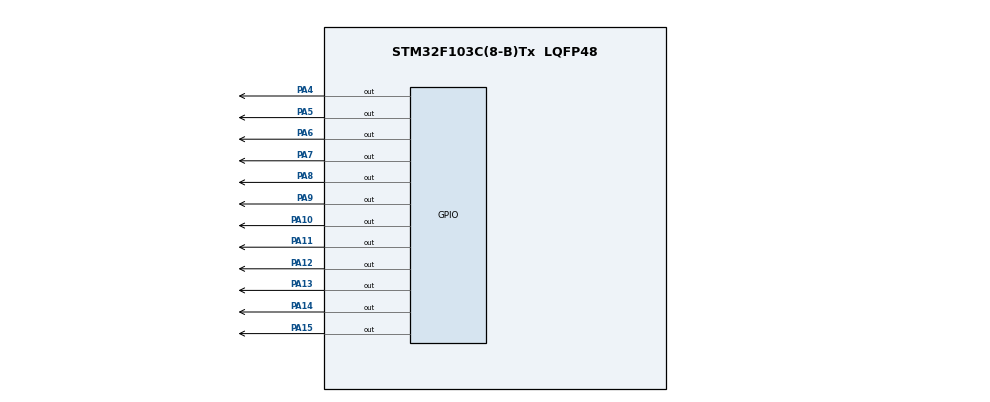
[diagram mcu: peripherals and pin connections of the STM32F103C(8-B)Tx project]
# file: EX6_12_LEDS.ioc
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Mcu.Family=STM32F1
Mcu.Name=STM32F103C(8-B)Tx
Mcu.Package=LQFP48
NVIC.PriorityGroup=NVIC_PRIORITYGROUP_4
PA10.Signal=GPIO_Output
PA11.Signal=GPIO_Output
PA12.Signal=GPIO_Output
PA13.Signal=GPIO_Output
PA14.Signal=GPIO_Output
PA15.Signal=GPIO_Output
PA4.Signal=GPIO_Output
PA5.Signal=GPIO_Output
PA6.Signal=GPIO_Output
PA7.Signal=GPIO_Output
PA8.Signal=GPIO_Output
PA9.Signal=GPIO_Output
ProjectManager.HeapSize=0x200
ProjectManager.StackSize=0x400
ProjectManager.TargetToolchain=MDK-ARM V5.32
RCC.APB1Freq_Value=8000000
RCC.APB2Freq_Value=8000000
VP_SYS_VS_ND.Mode=No_Debug
board=custom

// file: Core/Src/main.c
/* USER CODE BEGIN Header */
/**
  ******************************************************************************
  * @file           : main.c
  * @brief          : Main program body
  ******************************************************************************
  * @attention
  *
  * Copyright (c) 2026 STMicroelectronics.
  * All rights reserved.
  *
  * This software is licensed under terms that can be found in the LICENSE file
  * in the root directory of this software component.
  * If no LICENSE file comes with this software, it is provided AS-IS.
  *
  ******************************************************************************
  */
/* USER CODE END Header */
#include "main.h"

/* USER CODE BEGIN PD */
#define ALL_LED (GPIO_PIN_4 | GPIO_PIN_5 | GPIO_PIN_6 | GPIO_PIN_7 | \
								 GPIO_PIN_8 | GPIO_PIN_9 | GPIO_PIN_10 | GPIO_PIN_11 | \
								 GPIO_PIN_12 | GPIO_PIN_13 | GPIO_PIN_14 | GPIO_PIN_15)
/* USER CODE END PD */

void SystemClock_Config(void);
static void MX_GPIO_Init(void);

/* USER CODE BEGIN 0 */
static const uint16_t clock_led[12] = {
	GPIO_PIN_4,
	GPIO_PIN_5,
	GPIO_PIN_6,
	GPIO_PIN_7,
	GPIO_PIN_8,
	GPIO_PIN_9,
	GPIO_PIN_10,
	GPIO_PIN_11,
	GPIO_PIN_12,
	GPIO_PIN_13,
	GPIO_PIN_14,
	GPIO_PIN_15
};
/* USER CODE END 0 */

int main(void)
{

  /* MCU Configuration--------------------------------------------------------*/

  /* Reset of all peripherals, Initializes the Flash interface and the Systick. */
  HAL_Init();

  /* Configure the system clock */
  SystemClock_Config();

  /* Initialize all configured peripherals */
  MX_GPIO_Init();

  /* Infinite loop */
  while (1)
  {

    /* USER CODE BEGIN 3 */
		for(int i = 0; i < 12; i++){
			HAL_GPIO_WritePin(GPIOA, ALL_LED, 0);
			HAL_GPIO_WritePin(GPIOA, clock_led[i], 1);
			HAL_Delay(1000);
		}
  }
  /* USER CODE END 3 */
}

void SystemClock_Config(void)
{
  RCC_OscInitTypeDef RCC_OscInitStruct = {0};
  RCC_ClkInitTypeDef RCC_ClkInitStruct = {0};

  /** Initializes the RCC Oscillators according to the specified parameters
  * in the RCC_OscInitTypeDef structure.
  */
  RCC_OscInitStruct.OscillatorType = RCC_OSCILLATORTYPE_HSI;
  RCC_OscInitStruct.HSIState = RCC_HSI_ON;
  RCC_OscInitStruct.HSICalibrationValue = RCC_HSICALIBRATION_DEFAULT;
  RCC_OscInitStruct.PLL.PLLState = RCC_PLL_NONE;
  if (HAL_RCC_OscConfig(&RCC_OscInitStruct) != HAL_OK)
  {
    Error_Handler();
  }

  /** Initializes the CPU, AHB and APB buses clocks
  */
  RCC_ClkInitStruct.ClockType = RCC_CLOCKTYPE_HCLK|RCC_CLOCKTYPE_SYSCLK
                              |RCC_CLOCKTYPE_PCLK1|RCC_CLOCKTYPE_PCLK2;
  RCC_ClkInitStruct.SYSCLKSource = RCC_SYSCLKSOURCE_HSI;
  RCC_ClkInitStruct.AHBCLKDivider = RCC_SYSCLK_DIV1;
  RCC_ClkInitStruct.APB1CLKDivider = RCC_HCLK_DIV1;
  RCC_ClkInitStruct.APB2CLKDivider = RCC_HCLK_DIV1;

  if (HAL_RCC_ClockConfig(&RCC_ClkInitStruct, FLASH_LATENCY_0) != HAL_OK)
  {
    Error_Handler();
  }
}

static void MX_GPIO_Init(void)
{
  GPIO_InitTypeDef GPIO_InitStruct = {0};

  /* GPIO Ports Clock Enable */
  __HAL_RCC_GPIOA_CLK_ENABLE();

  /*Configure GPIO pin Output Level */
  HAL_GPIO_WritePin(GPIOA, GPIO_PIN_4|GPIO_PIN_5|GPIO_PIN_6|GPIO_PIN_7
                          |GPIO_PIN_8|GPIO_PIN_9|GPIO_PIN_10|GPIO_PIN_11
                          |GPIO_PIN_12|GPIO_PIN_13|GPIO_PIN_14|GPIO_PIN_15, GPIO_PIN_RESET);

  /*Configure GPIO pins : PA4 PA5 PA6 PA7
                           PA8 PA9 PA10 PA11
                           PA12 PA13 PA14 PA15 */
  GPIO_InitStruct.Pin = GPIO_PIN_4|GPIO_PIN_5|GPIO_PIN_6|GPIO_PIN_7
                          |GPIO_PIN_8|GPIO_PIN_9|GPIO_PIN_10|GPIO_PIN_11
                          |GPIO_PIN_12|GPIO_PIN_13|GPIO_PIN_14|GPIO_PIN_15;
  GPIO_InitStruct.Mode = GPIO_MODE_OUTPUT_PP;
  GPIO_InitStruct.Pull = GPIO_NOPULL;
  GPIO_InitStruct.Speed = GPIO_SPEED_FREQ_LOW;
  HAL_GPIO_Init(GPIOA, &GPIO_InitStruct);

}

void Error_Handler(void)
{
  __disable_irq();
  while (1)
  {
  }
}
